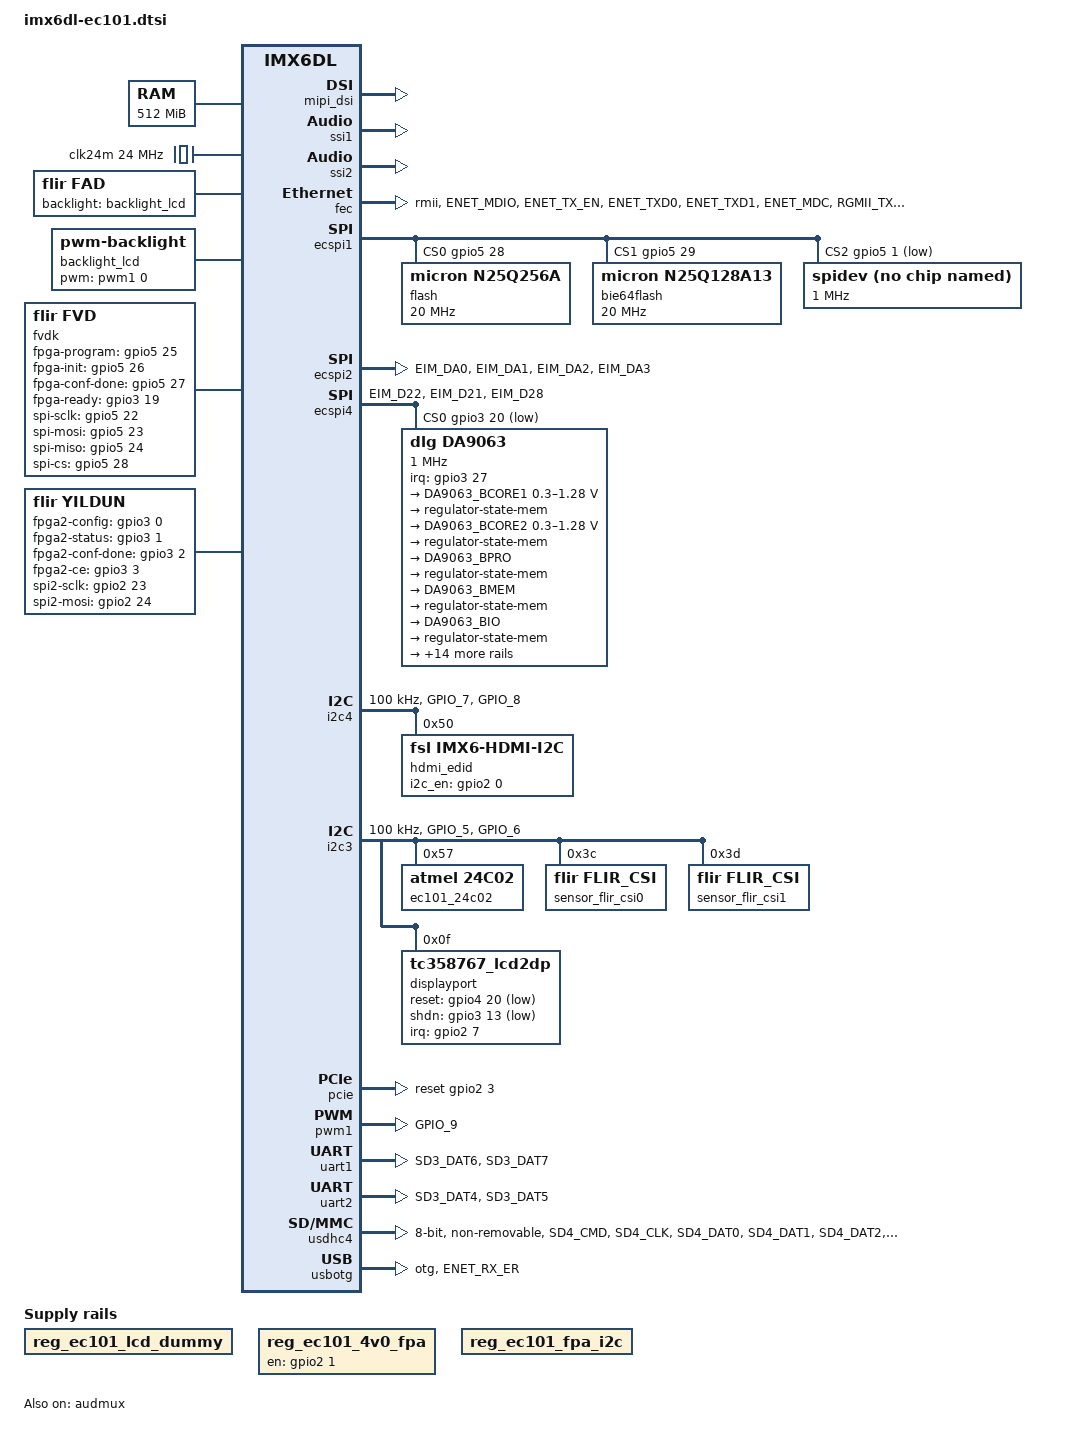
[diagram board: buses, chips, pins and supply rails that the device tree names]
/*
 * Copyright 2015 FLIR Systems.
 *
 * The code contained herein is licensed under the GNU General Public
 * License. You may obtain a copy of the GNU General Public License
 * Version 2 or later at the following locations:
 *
 * http://www.opensource.org/licenses/gpl-license.html
 * http://www.gnu.org/copyleft/gpl.html
 */

#include <dt-bindings/gpio/gpio.h>
#include <dt-bindings/regulator/dlg,da9063-regulator.h>
/*This file represents ec101-d and later*/

/ {
	aliases {
		mxcfb0 = &mxcfb1;
		mxcfb1 = &mxcfb2;

		i2c3 = &i2c4;

		/* FLIR - overwrite imx6qdl standard. Compatible with ROCO  */
		mmc0 = &usdhc4;
		mmc1 = &usdhc1;
		mmc2 = &usdhc2;
		mmc3 = &usdhc3;

		ethernet0 = &fec;
	};

	memory {
		reg = <0x10000000 0x20000000>;
	};

	reserved-memory {
		linux,cma {
			size = <0xC000000>;
		};
	};

	clocks {
		clk24m: clk24m {
			compatible = "fixed-clock";
			#clock-cells = <0>;
			clock-frequency = <24000000>;
		};
	};

	regulators {
		compatible = "simple-bus";

		reg_ec101_lcd_dummy: reg_ec101_lcd_dummy {
			compatible = "regulator-fixed";
			regulator-name = "lcd_dummy";
		};

		reg_ec101_4v0_fpa: ec101_4v0_fpa {
			compatible = "regulator-fixed";
			regulator-name = "4V0_fpa";
			gpio = <&gpio2 1 0>;
			enable-active-high;
		};

		/*Removed on ec101-d but required by fvdk*/
		reg_ec101_fpa_i2c: ec101_fpa_i2c {
			compatible = "regulator-fixed";
			regulator-name = "fpa_i2c";
			enable-active-high;
		};
	};

	fad {
		compatible = "flir,fad";
		hasLaser = <1>;
		hasGPS = <1>;
		hasFocusModule = <1>;
//		laser_on-gpios = <&gpio4 12 GPIO_ACTIVE_HIGH>;
//		laser_soft-gpios = <&rori_pca9534 5 GPIO_ACTIVE_LOW>;
//		laser_switch-gpios = <&rori_pca9534 2 GPIO_ACTIVE_LOW>;
		standbyMinutes = <360>;  // 360 = 6 hours
		backlight = <&backlight_lcd>;
	};

	boards{
		mainboard{
			article = <0>;
			rev = <0>;
		};
		evro{
			article = <0>;
			rev = <0>;
		};
	};

	u-boot{
		version = "Unkown";
		reset-cause = "Unkown";
	};


	mxcfb1: fb@0 {
		compatible = "fsl,mxc_sdc_fb";
		disp_dev = "mipi_dsi";
		interface_pix_fmt = "RGB24";
		mode_str ="ORISE-VGA";
		default_bpp = <32>;
		int_clk = <0>;
		late_init = <0>;
		bootlogo = <0x0 0x0>;
		status = "okay";
	};

	mxcfb2: fb@1 {
		compatible = "fsl,mxc_sdc_fb";
		interface_pix_fmt = "RGB24";
		default_bpp = <32>;
		int_clk = <1>;
		late_init = <0>;
		status = "okay";
		disp_dev = "lcd";
		mode_str ="FLIR-DP";
	};

	backlight_lcd: backlight_lcd {
		compatible = "pwm-backlight";
		pwms = <&pwm1 0 500000>; //500us=2KHz
		brightness-levels = <0 10 20 30 40 50 60 70 80 90 100>;
		default-brightness-level = <7>;
		options = <3>;	// Restore backlight after suspend
	};

	v4l2_cap_0 {
		compatible = "fsl,imx6q-v4l2-capture";
		ipu_id = <0>;
		csi_id = <0>;
		videoflow_method = <1>;
		mclk_source = <0>;
		status = "okay";
	};

	v4l2_cap_1 {
		compatible = "fsl,imx6q-v4l2-capture";
		ipu_id = <0>;
		csi_id = <1>;
		videoflow_method = <1>;
		mclk_source = <0>;
		status = "okay";
	};

	v4l2_out {
		compatible = "fsl,mxc_v4l2_output";
		status = "okay";
	};

	fvdk {
		compatible = "flir,fvd";
		pinctrl-names = "default", "spi-default","spi-idle";
		pinctrl-0 = <&pinctrl_fvd>;
		pinctrl-1 = <&pinctrl_ecspi1>;
		pinctrl-2 = <&pinctrl_ecspi1_idle>;
		fpga-program-gpio	= <&gpio5 25 GPIO_ACTIVE_HIGH>;
		fpga-init-gpio		= <&gpio5 26 GPIO_ACTIVE_HIGH>;
		fpga-conf-done-gpio 	= <&gpio5 27 GPIO_ACTIVE_HIGH>;
		fpga-ready-gpio		= <&gpio3 19 GPIO_ACTIVE_HIGH>;
		spi-sclk-gpio		= <&gpio5 22 GPIO_ACTIVE_HIGH>;
		spi-mosi-gpio		= <&gpio5 23 GPIO_ACTIVE_HIGH>;
		spi-miso-gpio		= <&gpio5 24 GPIO_ACTIVE_HIGH>;
		spi-cs-gpio		= <&gpio5 28 GPIO_ACTIVE_HIGH>;
	};

	lcd@0 {
		compatible = "fsl,lcd";
		ipu_id = <0>;
		disp_id = <0>;
		default_ifmt = "RGB24";
		pinctrl-names = "default";
		pinctrl-0 = <&pinctrl_ipu1>;
		display = <&lcdtiming>;
		status = "okay";
		bootlogo = <0x0 0x0>;
	};

	lcdtiming: lcdtiming {
		display-timings { 
			timing {
				clock-frequency = <25175000>;
				hactive = <640>;
				vactive = <480>;
				hfront-porch = <8>;
				hback-porch = <40>;
				hsync-len = <96>;
				vback-porch = <25>;
				vfront-porch = <2>;
				vsync-len = <2>;
				pixelclk-active = <0>;
			};
		};
	};

	dpsound: dpsound {
		compatible = "fsl,imx-audio-tc358767a";
		model = "imx-audio-tc358767a";
		cpu-dai = <&ssi2>;
		audio-codec = <&displayport>;
		mux-int-port = <2>;
		mux-ext-port = <4>;
	};
	
	yildun {
		compatible = "flir,yildun";
		pinctrl-names = "default", "idle";
		pinctrl-0 = <&pinctrl_yildun_spi>;
		pinctrl-1 = <&pinctrl_yildun_spi_idle>;
		fpga2-config-gpio	= <&gpio3 0 GPIO_ACTIVE_HIGH>;
		fpga2-status-gpio	= <&gpio3 1 GPIO_ACTIVE_HIGH>;
		fpga2-conf-done-gpio 	= <&gpio3 2 GPIO_ACTIVE_HIGH>;
		fpga2-ce-gpio		= <&gpio3 3 GPIO_ACTIVE_HIGH>;
		spi2-sclk-gpio		= <&gpio2 23 GPIO_ACTIVE_HIGH>;
		spi2-mosi-gpio		= <&gpio2 24 GPIO_ACTIVE_HIGH>;
	};
};

/* LCD */
&mipi_dsi {
	dev_id = <0>;
	disp_id = <1>;
	lcd_panel = "ORISE-VGA";
	disp-power-on-supply = <&reg_ec101_lcd_dummy>;
	status = "okay";
};

&ssi1 {
	status = "okay";
        fsl,mode = "i2s-slave";
};

&ssi2 {
	status = "okay";
};

&audmux {
	pinctrl-names = "default";
	pinctrl-0 = <&pinctrl_audmux>;
	status = "okay";
};

&fec {
	pinctrl-names = "default";
	pinctrl-0 = <&pinctrl_enet>;
	phy-mode = "rmii";
	// Disabled saves 200 ms on boot. This is only used when
	// connected to debug card, so uncomment for debug
	// status = "okay";

};

&ecspi1 {
	status = "okay";
	fsl,spi-num-chipselects = <3>;
	cs-gpios = <&gpio5 28 0>, <&gpio5 29 0>,  <&gpio5 1 3>;

	flash: m25p80@0 {
		compatible = "micron,n25q256a", "jedec,spi-nor";
		spi-max-frequency = <20000000>;
		reg = <0>;
	};

	bie64flash: bie64flash@1 {
		compatible = "micron,n25q128a13", "micron,n25q256a", "jedec,spi-nor";
		spi-max-frequency = <20000000>;
		reg = <1>;
	};
	
	spidev: spidev@2 {
		status = "okay";
		compatible = "linux,spidev";
		spi-max-frequency = <1000000>;
		reg = <2>;
	};	

};

&ecspi2 {
	pinctrl-names = "default";
	pinctrl-0 = <&pinctrl_yildun_fpga>;
	status = "okay";
	fsl,spi-num-chipselects = <1>;
	cs-gpios = <&gpio2 27 0>;	// Fake pin not used
};

&ecspi4 {
	pinctrl-names = "default";
	pinctrl-0 = <&pinctrl_ecspi4>;
	status = "okay";
	fsl,spi-num-chipselects = <1>;
	cs-gpios = <&gpio3 20 GPIO_ACTIVE_LOW>;

	da9063: da9063@0 {
		compatible = "dlg,da9063";
		reg = <0>;
		spi-max-frequency = <1000000>;
		interrupt-parent = <&gpio3>;
		interrupts = <27 2>;
		interrupt-controller;
		#interrupt-cells = <1>;
		pinctrl-names = "default";
		pinctrl-0 = <&pinctrl_da9063>;

		poweroff {
			compatible = "dlg,da9063-poweroff";
		};

		rtc {
			compatible = "dlg,da9063-rtc";
			interrupts = <1 2>;
			interrupts-names = "ALARM" , "TIMER";
			interrupt-parent = <&da9063>;
		};

		onkey {
			compatible = "dlg,da9063-onkey";
			interrupts = <0>;
			interrupts-names = "ONKEY";
			interrupt-parent = <&da9063>;
			dlg,key-power;
			gpio-key,wakeup;
			linux,code = <66>;
		};

		hwmon {
			compatible = "dlg,da9063-hwmon";
			interrupts = <3>;
			interrupts-names = "HWMON";
			interrupt-parent = <&da9063>;
			dlg,tjunc-offset = <(-5)>;
		};

		gpio_extender: gpio {
			compatible = "dlg,da9063-gpio";
			gpio-controller;
			#gpio-cells = <2>;
		};

		charge_wake: charge_wake {
			compatible = "dlg,da9063-wake";
		};

		reset{
			compatible = "dlg,da9063-reset";
		};


		/* For DA9063 revision AD */
		regulators {
			compatible = "dlg,da9063-regulators";
			/*dlg,bcores_merged;*/
			/*dlg,bmem_bio_merged;*/
			interrupts = <8>;
			interrupts-names = "LDO_LIM";
			interrupt-parent = <&da9063>;

			/* A note on the buck regulators:
			 * Recommend to not use MODE_SLEEP in state-mem mode,
			 * at least for the VCCSOC voltage regulator.
			 * It entered (and did not change from) a low-current mode
			 * that was not able to deliver enough current after suspend.
			 * Therefore we use MODE_SYNC or MODE_AUTO in both states
			 * for the buck regulators that are handled by PM.
			 */

			/* VCCARM */
			DA9063_BCORE1:bcore1  {
				regulator-name = "DA9063_BCORE1";
				regulator-boot-on;
				regulator-always-on;
				regulator-min-microvolt = <300000>;
				regulator-max-microvolt = <1280000>;

				regulator-initial-mode = <DA9063_BUCK_MODE_SYNC>;
				regulator-allowed-modes = <DA9063_BUCK_MODE_SYNC>;
				regulator-state-mem {
					regulator-mode = <DA9063_BUCK_MODE_SYNC>;
					regulator-suspend-uv= <950000>;
					regulator-off-in-suspend;
				};
			};

			/* VCCSOC */
			DA9063_BCORE2:bcore2  {
				regulator-name = "DA9063_BCORE2";
				regulator-boot-on;
				regulator-always-on;
				regulator-min-microvolt = <300000>;
				regulator-max-microvolt = <1280000>;

				regulator-initial-mode = <DA9063_BUCK_MODE_SYNC>;
				regulator-allowed-modes = <DA9063_BUCK_MODE_SYNC>;
				regulator-state-mem {
					regulator-mode = <DA9063_BUCK_MODE_SYNC>;
					regulator-suspend-uv= <950000>;
					regulator-off-in-suspend;
				};
			};

			/* 1V0_FPGA */
			DA9063_BPRO:bpro  {
				regulator-initial-mode = <DA9063_BUCK_MODE_SYNC>;
				regulator-name = "DA9063_BPRO";
				regulator-boot-on;
				regulator-allowed-modes = <DA9063_BUCK_MODE_SYNC>;
				regulator-state-mem {
					regulator-mode = <DA9063_BUCK_MODE_SYNC>;
				};
			};

			/* 1V1D_FPGA2 */
			DA9063_BMEM:bmem  {
				regulator-initial-mode = <DA9063_BUCK_MODE_SYNC>;
				regulator-name = "DA9063_BMEM";
				regulator-allowed-modes = <DA9063_BUCK_MODE_SYNC>;
				regulator-state-mem {
					regulator-mode = <DA9063_BUCK_MODE_SYNC>;
				};
			};

			/* 1V8D */
			DA9063_BIO:bio  {
				regulator-initial-mode = <DA9063_BUCK_MODE_SYNC>;
				regulator-name = "DA9063_BIO";
				regulator-boot-on;
				regulator-always-on;
				regulator-allowed-modes = <DA9063_BUCK_MODE_SYNC>;
				regulator-state-mem {
					regulator-mode = <DA9063_BUCK_MODE_SYNC>;
				};
			};

			/* 1V2D */
			DA9063_BPERI:bperi  {
				regulator-initial-mode = <DA9063_BUCK_MODE_SYNC>;
				regulator-name = "DA9063_BPERI";
				regulator-boot-on;
				regulator-always-on;
				regulator-allowed-modes = <DA9063_BUCK_MODE_SYNC>;
				regulator-state-mem {
					regulator-mode = <DA9063_BUCK_MODE_SYNC>;
				};
			};

			/* 1V2D_FPGA2 */
			DA9063_LDO2:ldo2  {
				regulator-name = "DA9063_LDO2";
			};

			/* 1V8D_FPGA2 */
			DA9063_LDO3:ldo3  {
				regulator-name = "DA9063_LDO3";
			};

			/* SD1_VCC */
			DA9063_LDO4:ldo4  {
				regulator-name = "DA9063_LDO4";
				regulator-min-microvolt = <900000>;
				regulator-max-microvolt = <3440000>;
			};

			/* 2V5D_FPGA2 */
			DA9063_LDO6:ldo6  {
				regulator-name = "DA9063_LDO6";
			};

			/* 3V15D_FPGA2 */
			DA9063_LDO7:ldo7  {
				regulator-name = "DA9063_LDO7";
			};

			/* 3V15D_FPGA */
			DA9063_LDO8:ldo8  {
				regulator-name = "DA9063_LDO8";
				regulator-boot-on;
			};

			/* VCCSNVS */
			DA9063_LDO9:ldo9  {
				regulator-name = "DA9063_LDO9";
				regulator-boot-on;
				regulator-always-on;
			};

			/* 2V5D_FPGA */
			DA9063_LDO10:ldo10  {
				regulator-name = "DA9063_LDO10";
				regulator-boot-on;
			};

			/* 3V15D */
			DA9063_LDO11:ldo11  {
				regulator-name = "DA9063_LDO11";
				regulator-boot-on;
				regulator-always-on;
			};

			/* 1V8D_FPGA */
			DA9063_CORE_SW:core-sw  {
				regulator-name = "DA9063_CORE_SW";
				regulator-boot-on;
			};

			/* 1V2D_FPGA */
			DA9063_PERI_SW:peri-sw  {
				regulator-name = "DA9063_PERI_SW";
				regulator-boot-on;
			};

			/* CLK32k768 */
			DA9063_32K_OUT:out_32k  {
				regulator-name = "DA9063_32K_OUT";
			};
		};
	};
};

/*FLIR i2c2 bus: hdmi */
&i2c4 {
	clock-frequency = <100000>;
	pinctrl-names = "default";
	pinctrl-0 = <&pinctrl_i2c4>;
	status = "okay";
	
	hdmi_edid: edid@50 {
		compatible = "fsl,imx6-hdmi-i2c";
		i2c_en_gpio = <&gpio2 0 GPIO_ACTIVE_HIGH>;
		reg = <0x50>;
	};
};

/*FLIR i2c1 bus: eeprom*/
&i2c3 {
	clock-frequency = <100000>;
	pinctrl-names = "default";
	pinctrl-0 = <&pinctrl_i2c3>;
	status = "okay";

	ec101_24c02: ec101_24c02@57 {
		compatible = "atmel,24c02";
		reg = <0x57>;
		pagesize = <16>;
	};

	sensor_flir_csi0: csi0@3c {
		compatible = "flir,flir_csi";
		reg = <0x3c>;
		pinctrl-names = "default";
		pinctrl-0 = <&pinctrl_evco_csi0>;
		clocks = <&clks 201>;
		clock-names = "csi_mclk";
		ipu_id = <0>;
		csi_id = <0>;
		mclk = <24000000>;
		mclk_source = <0>;
		capturemode = <0>;
		format = "RGB4";
		status = "okay";
	};

	sensor_flir_csi1: csi1@3d {
		compatible = "flir,flir_csi";
		reg = <0x3d>;
		pinctrl-names = "default";
		pinctrl-0 = <&pinctrl_evco_csi1>;
		clocks = <&clks 201>;
		clock-names = "csi_mclk";
		ipu_id = <0>;
		csi_id = <1>;
		mclk = <24000000>;
		mclk_source = <0>;
		capturemode = <5>;
		format = "UYVY";
		status = "okay";
	};

	displayport: dp@0F {
		compatible = "tc358767_lcd2dp";
		reg = <0x0F>;
		reset_gpio = <&gpio4 20 GPIO_ACTIVE_LOW>;
		shdn_gpio = <&gpio3 13 GPIO_ACTIVE_LOW>;
		interrupt-parent = <&gpio2>;
		interrupts = <7 IRQ_TYPE_LEVEL_HIGH>;
	};
};

&iomuxc {

	imx6dl-ec101 {

		pinctrl_pwm1: pwm1grp {
			fsl,pins = <
				MX6QDL_PAD_GPIO_9__PWM1_OUT		0x80000000
			>;
		};

		pinctrl_enet: enetgrp {
			fsl,pins = <
				MX6QDL_PAD_ENET_MDIO__ENET_MDIO		0x1b0b0
				MX6QDL_PAD_ENET_TX_EN__ENET_TX_EN	0x1b0b0
				MX6QDL_PAD_ENET_TXD0__ENET_TX_DATA0	0x1b0b0
				MX6QDL_PAD_ENET_TXD1__ENET_TX_DATA1	0x1b0b0
				MX6QDL_PAD_ENET_MDC__ENET_MDC		0x1b0b0
				MX6QDL_PAD_RGMII_TX_CTL__ENET_REF_CLK	0x1b0b0
				MX6QDL_PAD_ENET_CRS_DV__ENET_RX_EN	0x1b0b0
				MX6QDL_PAD_ENET_RXD0__ENET_RX_DATA0	0x1b0b0
				MX6QDL_PAD_ENET_RXD1__ENET_RX_DATA1	0x1b0b0
			>;
		};

		pinctrl_ecspi1: ecspi1grp {
			fsl,pins = <
				MX6QDL_PAD_CSI0_DAT4__ECSPI1_SCLK 0x100b1
				MX6QDL_PAD_CSI0_DAT5__ECSPI1_MOSI 0x100b1
				MX6QDL_PAD_CSI0_DAT6__ECSPI1_MISO 0x100b1
			>;
		};

		pinctrl_ecspi1_idle: ecspi1grp-idle {
			fsl,pins = <
				MX6QDL_PAD_CSI0_DAT4__GPIO5_IO22	0x100b1
				MX6QDL_PAD_CSI0_DAT5__GPIO5_IO23	0x100b1
				MX6QDL_PAD_CSI0_DAT6__GPIO5_IO24	0x100b1
				>;
		};

		pinctrl_ecspi4: ecspi4grp {
			fsl,pins = <
				MX6QDL_PAD_EIM_D22__ECSPI4_MISO 0x100b1
				MX6QDL_PAD_EIM_D21__ECSPI4_SCLK 0x100b1
				MX6QDL_PAD_EIM_D28__ECSPI4_MOSI 0x100b1
			>;
		};

		pinctrl_i2c3: i2c3grp {
			fsl,pins = <
				MX6QDL_PAD_GPIO_5__I2C3_SCL  0x4001b8b1
				MX6QDL_PAD_GPIO_6__I2C3_SDA  0x4001b8b1
			>;
		};

		pinctrl_i2c4: i2c4grp {
			fsl,pins = <
				MX6QDL_PAD_GPIO_7__I2C4_SCL  0x4001b8b1
				MX6QDL_PAD_GPIO_8__I2C4_SDA  0x4001b8b1
			>;
		};

		pinctrl_uart1: uart1grp {
			fsl,pins = <
				MX6QDL_PAD_SD3_DAT6__UART1_RX_DATA 0x1b0b1
				MX6QDL_PAD_SD3_DAT7__UART1_TX_DATA 0x1b0b1
			>;
		};

		pinctrl_uart2: uart2grp {
			fsl,pins = <
				MX6QDL_PAD_SD3_DAT4__UART2_RX_DATA   0x1b0b1
				MX6QDL_PAD_SD3_DAT5__UART2_TX_DATA   0x1b0b1
			>;
		};

		pinctrl_usdhc4: usdhc4grp {
			fsl,pins = <
				MX6QDL_PAD_SD4_CMD__SD4_CMD	0x170B9
				MX6QDL_PAD_SD4_CLK__SD4_CLK	0x100B9
				MX6QDL_PAD_SD4_DAT0__SD4_DATA0 0x170B9
				MX6QDL_PAD_SD4_DAT1__SD4_DATA1 0x170B9
				MX6QDL_PAD_SD4_DAT2__SD4_DATA2 0x170B9
				MX6QDL_PAD_SD4_DAT3__SD4_DATA3 0x170B9
				MX6QDL_PAD_SD4_DAT4__SD4_DATA4 0x170B9
				MX6QDL_PAD_SD4_DAT5__SD4_DATA5 0x170B9
				MX6QDL_PAD_SD4_DAT6__SD4_DATA6 0x170B9
				MX6QDL_PAD_SD4_DAT7__SD4_DATA7 0x170B9
			>;
		};

		pinctrl_da9063: da9063grp {
			fsl,pins = <
				MX6QDL_PAD_EIM_D27__GPIO3_IO27 0x1b0b0
			>;
		};

		pinctrl_evco_csi0: ipuevcogrp-0 { /* parallel camera - LCD image */
			fsl,pins = <
				MX6QDL_PAD_CSI0_DAT12__IPU1_CSI0_DATA12		0x80000000
				MX6QDL_PAD_CSI0_DAT13__IPU1_CSI0_DATA13		0x80000000
				MX6QDL_PAD_CSI0_DAT14__IPU1_CSI0_DATA14		0x80000000
				MX6QDL_PAD_CSI0_DAT15__IPU1_CSI0_DATA15		0x80000000
				MX6QDL_PAD_CSI0_DAT16__IPU1_CSI0_DATA16		0x80000000
				MX6QDL_PAD_CSI0_DAT17__IPU1_CSI0_DATA17		0x80000000
				MX6QDL_PAD_CSI0_DAT18__IPU1_CSI0_DATA18		0x80000000
				MX6QDL_PAD_CSI0_DAT19__IPU1_CSI0_DATA19		0x80000000
				MX6QDL_PAD_CSI0_PIXCLK__IPU1_CSI0_PIXCLK	0x0000a0b0
				MX6QDL_PAD_CSI0_MCLK__IPU1_CSI0_HSYNC		0x80000000
				MX6QDL_PAD_CSI0_VSYNC__IPU1_CSI0_VSYNC		0x80000000
				MX6QDL_PAD_CSI0_DATA_EN__IPU1_CSI0_DATA_EN	0x80000000
				>;
		};
	
		pinctrl_evco_csi1: ipuevcogrp-1 { /* parallel camera - visual */
			fsl,pins = <
				MX6QDL_PAD_EIM_A17__IPU1_CSI1_DATA12	0x80000000
				MX6QDL_PAD_EIM_A18__IPU1_CSI1_DATA13	0x80000000
				MX6QDL_PAD_EIM_A19__IPU1_CSI1_DATA14	0x80000000
				MX6QDL_PAD_EIM_A20__IPU1_CSI1_DATA15	0x80000000
				MX6QDL_PAD_EIM_A21__IPU1_CSI1_DATA16	0x80000000
				MX6QDL_PAD_EIM_A22__IPU1_CSI1_DATA17	0x80000000
				MX6QDL_PAD_EIM_A23__IPU1_CSI1_DATA18	0x80000000
				MX6QDL_PAD_EIM_A24__IPU1_CSI1_DATA19	0x80000000
				MX6QDL_PAD_EIM_A16__IPU1_CSI1_PIXCLK	0x0000a0b0
				MX6QDL_PAD_EIM_EB3__IPU1_CSI1_HSYNC	0x80000000
				MX6QDL_PAD_EIM_D29__IPU1_CSI1_VSYNC	0x80000000
				MX6QDL_PAD_EIM_D23__IPU1_CSI1_DATA_EN	0x80000000
				>;
		};

		pinctrl_usbotg: usbotggrp {
			fsl,pins = <
				MX6QDL_PAD_ENET_RX_ER__USB_OTG_ID		0x17059
			>;
		};
		
		pinctrl_ipu1: ipu1grp {
			fsl,pins = <
				MX6QDL_PAD_DI0_DISP_CLK__IPU1_DI0_DISP_CLK 0x10
				MX6QDL_PAD_DI0_PIN15__IPU1_DI0_PIN15       0x10
				MX6QDL_PAD_DI0_PIN2__IPU1_DI0_PIN02        0x10
				MX6QDL_PAD_DI0_PIN3__IPU1_DI0_PIN03        0x10
				MX6QDL_PAD_DI0_PIN4__IPU1_DI0_PIN04        0x80000000
				MX6QDL_PAD_DISP0_DAT0__IPU1_DISP0_DATA00   0x10
				MX6QDL_PAD_DISP0_DAT1__IPU1_DISP0_DATA01   0x10
				MX6QDL_PAD_DISP0_DAT2__IPU1_DISP0_DATA02   0x10
				MX6QDL_PAD_DISP0_DAT3__IPU1_DISP0_DATA03   0x10
				MX6QDL_PAD_DISP0_DAT4__IPU1_DISP0_DATA04   0x10
				MX6QDL_PAD_DISP0_DAT5__IPU1_DISP0_DATA05   0x10
				MX6QDL_PAD_DISP0_DAT6__IPU1_DISP0_DATA06   0x10
				MX6QDL_PAD_DISP0_DAT7__IPU1_DISP0_DATA07   0x10
				MX6QDL_PAD_DISP0_DAT8__IPU1_DISP0_DATA08   0x10
				MX6QDL_PAD_DISP0_DAT9__IPU1_DISP0_DATA09   0x10
				MX6QDL_PAD_DISP0_DAT10__IPU1_DISP0_DATA10  0x10
				MX6QDL_PAD_DISP0_DAT11__IPU1_DISP0_DATA11  0x10
				MX6QDL_PAD_DISP0_DAT12__IPU1_DISP0_DATA12  0x10
				MX6QDL_PAD_DISP0_DAT13__IPU1_DISP0_DATA13  0x10
				MX6QDL_PAD_DISP0_DAT14__IPU1_DISP0_DATA14  0x10
				MX6QDL_PAD_DISP0_DAT15__IPU1_DISP0_DATA15  0x10
				MX6QDL_PAD_DISP0_DAT16__IPU1_DISP0_DATA16  0x10
				MX6QDL_PAD_DISP0_DAT17__IPU1_DISP0_DATA17  0x10
				MX6QDL_PAD_DISP0_DAT18__IPU1_DISP0_DATA18  0x10
				MX6QDL_PAD_DISP0_DAT19__IPU1_DISP0_DATA19  0x10
				MX6QDL_PAD_DISP0_DAT20__IPU1_DISP0_DATA20  0x10
				MX6QDL_PAD_DISP0_DAT21__IPU1_DISP0_DATA21  0x10
				MX6QDL_PAD_DISP0_DAT22__IPU1_DISP0_DATA22  0x10
				MX6QDL_PAD_DISP0_DAT23__IPU1_DISP0_DATA23  0x10

				MX6QDL_PAD_DI0_PIN4__GPIO4_IO20		   0x10
				MX6QDL_PAD_EIM_DA13__GPIO3_IO13		   0x10
			>;
		};
		
		pinctrl_audmux: audmuxgrp {
			fsl,pins = <
				MX6QDL_PAD_KEY_COL0__AUD5_TXC    0x130b0
				MX6QDL_PAD_KEY_ROW0__AUD5_TXD    0x110b0
				MX6QDL_PAD_KEY_COL1__AUD5_TXFS   0x130b0
				MX6QDL_PAD_KEY_ROW1__AUD5_RXD    0x130b0
				MX6QDL_PAD_SD2_DAT1__AUD4_TXFS   0x130b0    
				MX6QDL_PAD_SD2_DAT2__AUD4_TXD    0x110b0    
				MX6QDL_PAD_SD2_DAT3__AUD4_TXC    0x130b0    
			>;
                };
                
		pinctrl_yildun_fpga: yildunfpgagrp {
			fsl,pins = <
				MX6QDL_PAD_EIM_DA0__GPIO3_IO00	0x10030
				MX6QDL_PAD_EIM_DA1__GPIO3_IO01	0x10030
				MX6QDL_PAD_EIM_DA2__GPIO3_IO02	0x10030
				MX6QDL_PAD_EIM_DA3__GPIO3_IO03	0x10030
			>;
		};
		
		pinctrl_yildun_spi: yildunspigrp {
			fsl,pins = <
				MX6QDL_PAD_EIM_CS0__ECSPI2_SCLK	0x100b1
				MX6QDL_PAD_EIM_CS1__ECSPI2_MOSI	0x100b1
				MX6QDL_PAD_EIM_OE__ECSPI2_MISO	0x100b1
			>;
		};

		pinctrl_yildun_spi_idle: yildunspiidlegrp {
			fsl,pins = <
				MX6QDL_PAD_EIM_CS0__GPIO2_IO23	0x100b1
				MX6QDL_PAD_EIM_CS1__GPIO2_IO24	0x100b1
				MX6QDL_PAD_EIM_OE__GPIO2_IO25	0x100b1
			>;
		};
		
		pinctrl_fvd: fvdgrp {
			fsl,pins = <
				MX6QDL_PAD_EIM_D16__GPIO3_IO16  0x10010
				MX6QDL_PAD_EIM_D17__GPIO3_IO17  0x10010
				MX6QDL_PAD_EIM_D18__GPIO3_IO18  0x10010
				MX6QDL_PAD_EIM_D19__GPIO3_IO19  0x10010
			>;
		};
	};
};

&pcie {
	status = "okay";
	reset-gpio = <&gpio2 3 0>;
};

&pwm1 {
	#pwm-cells = <2>;
	pinctrl-names = "default";
	pinctrl-0 = <&pinctrl_pwm1>;
	status = "okay";
};

/*Active serial port*/
&uart1 {
	pinctrl-names = "default";
	pinctrl-0 = <&pinctrl_uart1>;
	status = "okay";
};

/*Secondary serial port*/
&uart2 {
	pinctrl-names = "default";
	pinctrl-0 = <&pinctrl_uart2>;
	status = "okay";
};


/*eMMC*/
&usdhc4 {
	pinctrl-names = "default";
	pinctrl-0 = <&pinctrl_usdhc4>;
	bus-width = <8>;
	non-removable;
	no-1-8-v;
	status = "okay";
};

/* USB */
&usbotg {
	pinctrl-names = "default";
	pinctrl-0 = <&pinctrl_usbotg>;
	disable-over-current;
	status = "okay";
	imx6-usb-charger-detection;
	fsl,anatop = <&anatop>;
//	dr_mode = "host";
//	dr_mode = "peripheral";
	dr_mode = "otg";
};

&gpc {
	fsl,ldo-bypass = <1>;
};

&cpu0{
	arm-supply = <&DA9063_BCORE1>;
	soc-supply = <&DA9063_BCORE2>;
	operating-points = <
		/* kHz	 uV */
		996000 1280000
		768000 1180000
		420000 1150000
	>;
	fsl,soc-operating-points = <
		/* ARM kHz SOC-PU uV */
		996000 1200000
		768000 1200000
		420000 1200000
	>;
};

&cpu1 {
	device_type = "unused";
	status = "disabled";
};

// OCRAM usage improvements
&vpu {
	iramsize = <0x10000>;
};

&sdma {
	iram = <&ocram>;
};

&vdoa {
	status = "disabled";
};

&ipu1 {
	bypass_reset = <1>;
	// IOMUX_GPR6: ID0 = F (real time), ID1 = 4 (high prio), ID2 = 2 (normal prio) 
	axi-id = <&gpr 0x18 0x024F024F>;	
};

&reg_arm {
	vin-supply = <&DA9063_BCORE1>;
};

&reg_soc {
	vin-supply = <&DA9063_BCORE2>;
};

&fec {
	/delete-property/ assigned-clocks;
	/delete-property/ assigned-clock-rates;
};
